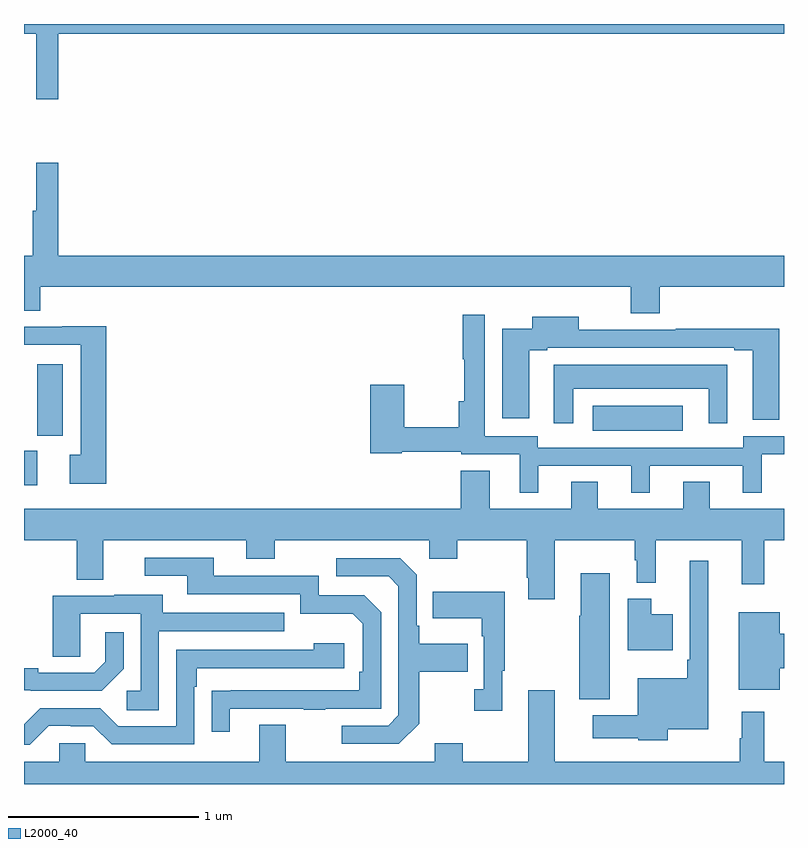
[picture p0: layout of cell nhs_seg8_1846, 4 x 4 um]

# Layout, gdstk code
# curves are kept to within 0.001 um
import gdstk
lib = gdstk.Library(unit=1e-6, precision=1e-09)
def R(c, l, rs):  # rectangles x0, y0, x1, y1
    for r in rs: c.add(gdstk.rectangle(r[:2], r[2:], *l))
def P(c, l, *ps):  # polygons
    for p in ps: c.add(gdstk.Polygon(p, *l))
L2000_40 = (2000, 40)

nhs_seg8_1846 = lib.new_cell('nhs_seg8_1846')
R(nhs_seg8_1846, L2000_40, [(229,1099.473,229.069,1099.653), (229.07,1099.734,229.204,1100.11), (231.993,1099.76,232.468,1099.891)])
P(nhs_seg8_1846, L2000_40, [(229.181,1101.848),(233,1101.848),(233,1101.9),(229,1101.9),(229,1101.848),(229.064,1101.848),(229.064,1101.504),(229.181,1101.504)],
  [(232.346,1100.516),(233,1100.516),(233,1100.68),(229.181,1100.68),(229.181,1101.169),(229.064,1101.169),(229.064,1100.916),(229.045,1100.916),(229.045,1100.68),(229,1100.68),(229,1100.392),(229.085,1100.392),(229.085,1100.516),(232.193,1100.516),(232.193,1100.377),(232.346,1100.377)],
  [(231.706,1099.575),(232.196,1099.575),(232.196,1099.434),(232.294,1099.434),(232.294,1099.575),(232.784,1099.575),(232.784,1099.434),(232.882,1099.434),(232.882,1099.635),(233,1099.635),(233,1099.731),(232.785,1099.731),(232.785,1099.671),(231.705,1099.671),(231.705,1099.731),(231.426,1099.731),(231.426,1100.371),(231.31,1100.371),(231.31,1100.135),(231.318,1100.135),(231.318,1099.915),(231.289,1099.915),(231.289,1099.778),(231,1099.778),(231,1100.002),(230.822,1100.002),(230.822,1099.642),(230.988,1099.642),(230.988,1099.65),(231.3,1099.65),(231.3,1099.635),(231.608,1099.635),(231.608,1099.434),(231.706,1099.434)],
  [(232.975,1100.295),(232.429,1100.295),(232.429,1100.292),(231.919,1100.292),(231.919,1100.359),(231.674,1100.359),(231.674,1100.295),(231.518,1100.295),(231.518,1099.824),(231.658,1099.824),(231.658,1100.184),(231.754,1100.184),(231.754,1100.196),(232.739,1100.196),(232.739,1100.184),(232.835,1100.184),(232.835,1099.818),(232.975,1099.818)],
  [(229.433,1100.309),(229.202,1100.309),(229.202,1100.307),(229,1100.307),(229,1100.211),(229.298,1100.211),(229.298,1099.634),(229.242,1099.634),(229.242,1099.481),(229.433,1099.481)],
  [(231.892,1099.979),(232.604,1099.979),(232.604,1099.8),(232.702,1099.8),(232.702,1100.107),(231.788,1100.107),(231.788,1099.8),(231.892,1099.8)],
  [(231.793,1099.184),(232.215,1099.184),(232.215,1099.077),(232.226,1099.077),(232.226,1098.959),(232.325,1098.959),(232.325,1099.184),(232.778,1099.184),(232.778,1098.951),(232.895,1098.951),(232.895,1099.184),(233,1099.184),(233,1099.348),(232.609,1099.348),(232.609,1099.49),(232.469,1099.49),(232.469,1099.348),(232.021,1099.348),(232.021,1099.49),(231.881,1099.49),(231.881,1099.348),(231.451,1099.348),(231.451,1099.55),(231.299,1099.55),(231.299,1099.348),(229,1099.348),(229,1099.184),(229.277,1099.184),(229.277,1098.976),(229.417,1098.976),(229.417,1099.184),(230.171,1099.184),(230.171,1099.085),(230.319,1099.085),(230.319,1099.184),(231.132,1099.184),(231.132,1099.085),(231.279,1099.085),(231.279,1099.184),(231.646,1099.184),(231.646,1098.985),(231.653,1098.985),(231.653,1098.873),(231.793,1098.873)],
  [(230.083,1098.297),(230.473,1098.297),(230.473,1098.292),(230.585,1098.292),(230.585,1098.297),(230.88,1098.297),(230.88,1098.804),(230.79,1098.894),(230.55,1098.894),(230.55,1098.996),(229.999,1098.996),(229.999,1099.092),(229.635,1099.092),(229.635,1098.996),(229.859,1098.996),(229.859,1098.9),(230.454,1098.9),(230.454,1098.797),(230.731,1098.797),(230.784,1098.744),(230.784,1098.49),(230.764,1098.49),(230.764,1098.393),(229.987,1098.392),(229.987,1098.174),(230.083,1098.174)],
  [(231.079,1098.217),(231.079,1098.49),(231.335,1098.49),(231.335,1098.637),(231.079,1098.637),(231.079,1098.733),(231.066,1098.733),(231.066,1099.002),(230.979,1099.089),(230.643,1099.089),(230.643,1098.993),(230.919,1098.993),(230.97,1098.942),(230.97,1098.261),(230.916,1098.207),(230.673,1098.207),(230.673,1098.111),(230.973,1098.111)],
  [(232.389,1098.188),(232.6,1098.188),(232.6,1099.075),(232.503,1099.075),(232.503,1098.553),(232.491,1098.553),(232.491,1098.457),(232.229,1098.457),(232.229,1098.262),(231.993,1098.262),(231.993,1098.14),(232.233,1098.14),(232.233,1098.131),(232.389,1098.131)],
  [(232.084,1099.009),(231.929,1099.009),(231.929,1098.785),(231.922,1098.785),(231.922,1098.347),(232.084,1098.347)],
  [(231.517,1098.497),(231.529,1098.497),(231.529,1098.913),(231.151,1098.913),(231.151,1098.773),(231.408,1098.773),(231.408,1098.677),(231.42,1098.677),(231.42,1098.398),(231.369,1098.398),(231.369,1098.285),(231.517,1098.285)],
  [(229.71,1098.705),(230.369,1098.705),(230.369,1098.801),(229.729,1098.801),(229.729,1098.895),(229.475,1098.895),(229.475,1098.891),(229.151,1098.891),(229.151,1098.571),(229.296,1098.571),(229.296,1098.795),(229.614,1098.795),(229.614,1098.39),(229.542,1098.39),(229.542,1098.289),(229.71,1098.289)],
  [(232.414,1098.793),(232.3,1098.793),(232.3,1098.874),(232.178,1098.874),(232.178,1098.605),(232.414,1098.605)],
  [(232.978,1098.509),(233,1098.509),(233,1098.692),(232.978,1098.692),(232.978,1098.805),(232.763,1098.805),(232.763,1098.395),(232.978,1098.395)],
  [(229.524,1098.506),(229.524,1098.7),(229.427,1098.7),(229.427,1098.543),(229.37,1098.486),(229.075,1098.486),(229.075,1098.509),(229,1098.509),(229,1098.393),(229.036,1098.393),(229.036,1098.39),(229.408,1098.39)],
  [(229.131,1098.207),(229.247,1098.207),(229.247,1098.204),(229.365,1098.204),(229.461,1098.108),(229.896,1098.108),(229.896,1098.413),(229.909,1098.413),(229.909,1098.51),(230.686,1098.51),(230.686,1098.64),(230.525,1098.64),(230.525,1098.606),(229.8,1098.606),(229.8,1098.204),(229.497,1098.204),(229.401,1098.3),(229.086,1098.3),(229,1098.214),(229,1098.107),(229.031,1098.107)],
  [(233,1098.016),(232.895,1098.016),(232.895,1098.28),(232.778,1098.28),(232.778,1098.14),(232.767,1098.14),(232.767,1098.016),(231.793,1098.016),(231.793,1098.394),(231.653,1098.394),(231.653,1098.016),(231.309,1098.016),(231.309,1098.115),(231.161,1098.115),(231.161,1098.016),(230.377,1098.016),(230.377,1098.211),(230.237,1098.211),(230.237,1098.016),(229.323,1098.016),(229.323,1098.114),(229.185,1098.114),(229.185,1098.016),(229,1098.016),(229,1097.9),(233,1097.9)])

lib.write_gds('nhs_seg8_1846.gds')
